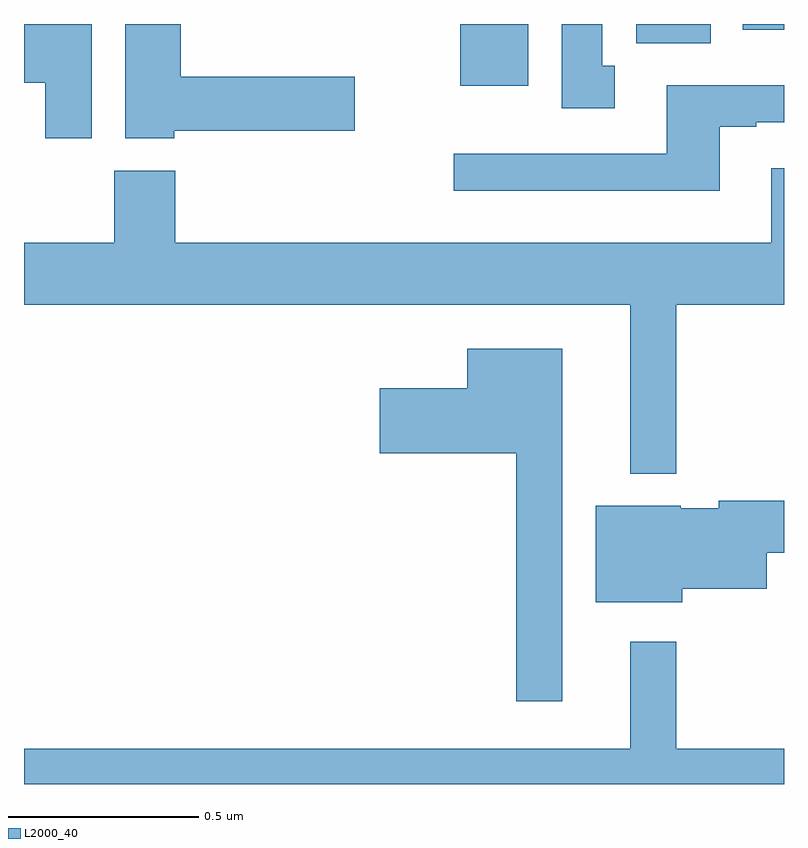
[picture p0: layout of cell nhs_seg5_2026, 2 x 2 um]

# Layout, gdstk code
import gdstk
lib = gdstk.Library(unit=1e-6, precision=1e-09)
def R(c, l, rs):  # rectangles x0, y0, x1, y1
    for r in rs: c.add(gdstk.rectangle(r[:2], r[2:], *l))
def P(c, l, *ps):  # polygons
    for p in ps: c.add(gdstk.Polygon(p, *l))
L2000_40 = (2000, 40)

nhs_seg5_2026 = lib.new_cell('nhs_seg5_2026')
R(nhs_seg5_2026, L2000_40, [(139.148,890.636,139.327,890.799), (139.611,890.748,139.807,890.799), (139.892,890.784,140,890.799)])
P(nhs_seg5_2026, L2000_40, [(138.396,890.518),(138.871,890.518),(138.871,890.66),(138.413,890.66),(138.413,890.799),(138.266,890.799),(138.266,890.498),(138.396,890.498)],
  [(138.178,890.799),(138,890.799),(138,890.645),(138.056,890.645),(138.056,890.499),(138.178,890.499)],
  [(139.555,890.689),(139.522,890.689),(139.522,890.799),(139.415,890.799),(139.415,890.577),(139.555,890.577)],
  [(139.831,890.529),(139.927,890.529),(139.927,890.541),(140,890.541),(140,890.638),(139.691,890.638),(139.691,890.457),(139.131,890.457),(139.131,890.36),(139.831,890.36)],
  [(140,890.419),(139.967,890.419),(139.967,890.224),(138.398,890.224),(138.398,890.413),(138.238,890.413),(138.238,890.224),(138,890.224),(138,890.06),(139.595,890.06),(139.595,889.616),(139.717,889.616),(139.717,890.06),(140,890.06)],
  [(139.417,889.945),(139.166,889.945),(139.166,889.84),(138.936,889.84),(138.936,889.67),(139.296,889.67),(139.296,889.017),(139.417,889.017)],
  [(139.732,889.313),(139.954,889.313),(139.954,889.408),(140,889.408),(140,889.544),(139.828,889.544),(139.828,889.525),(139.728,889.525),(139.728,889.531),(139.505,889.531),(139.505,889.277),(139.732,889.277)],
  [(140,888.892),(139.717,888.892),(139.717,889.174),(139.595,889.174),(139.595,888.892),(138,888.892),(138,888.799),(140,888.799)])

lib.write_gds('nhs_seg5_2026.gds')
